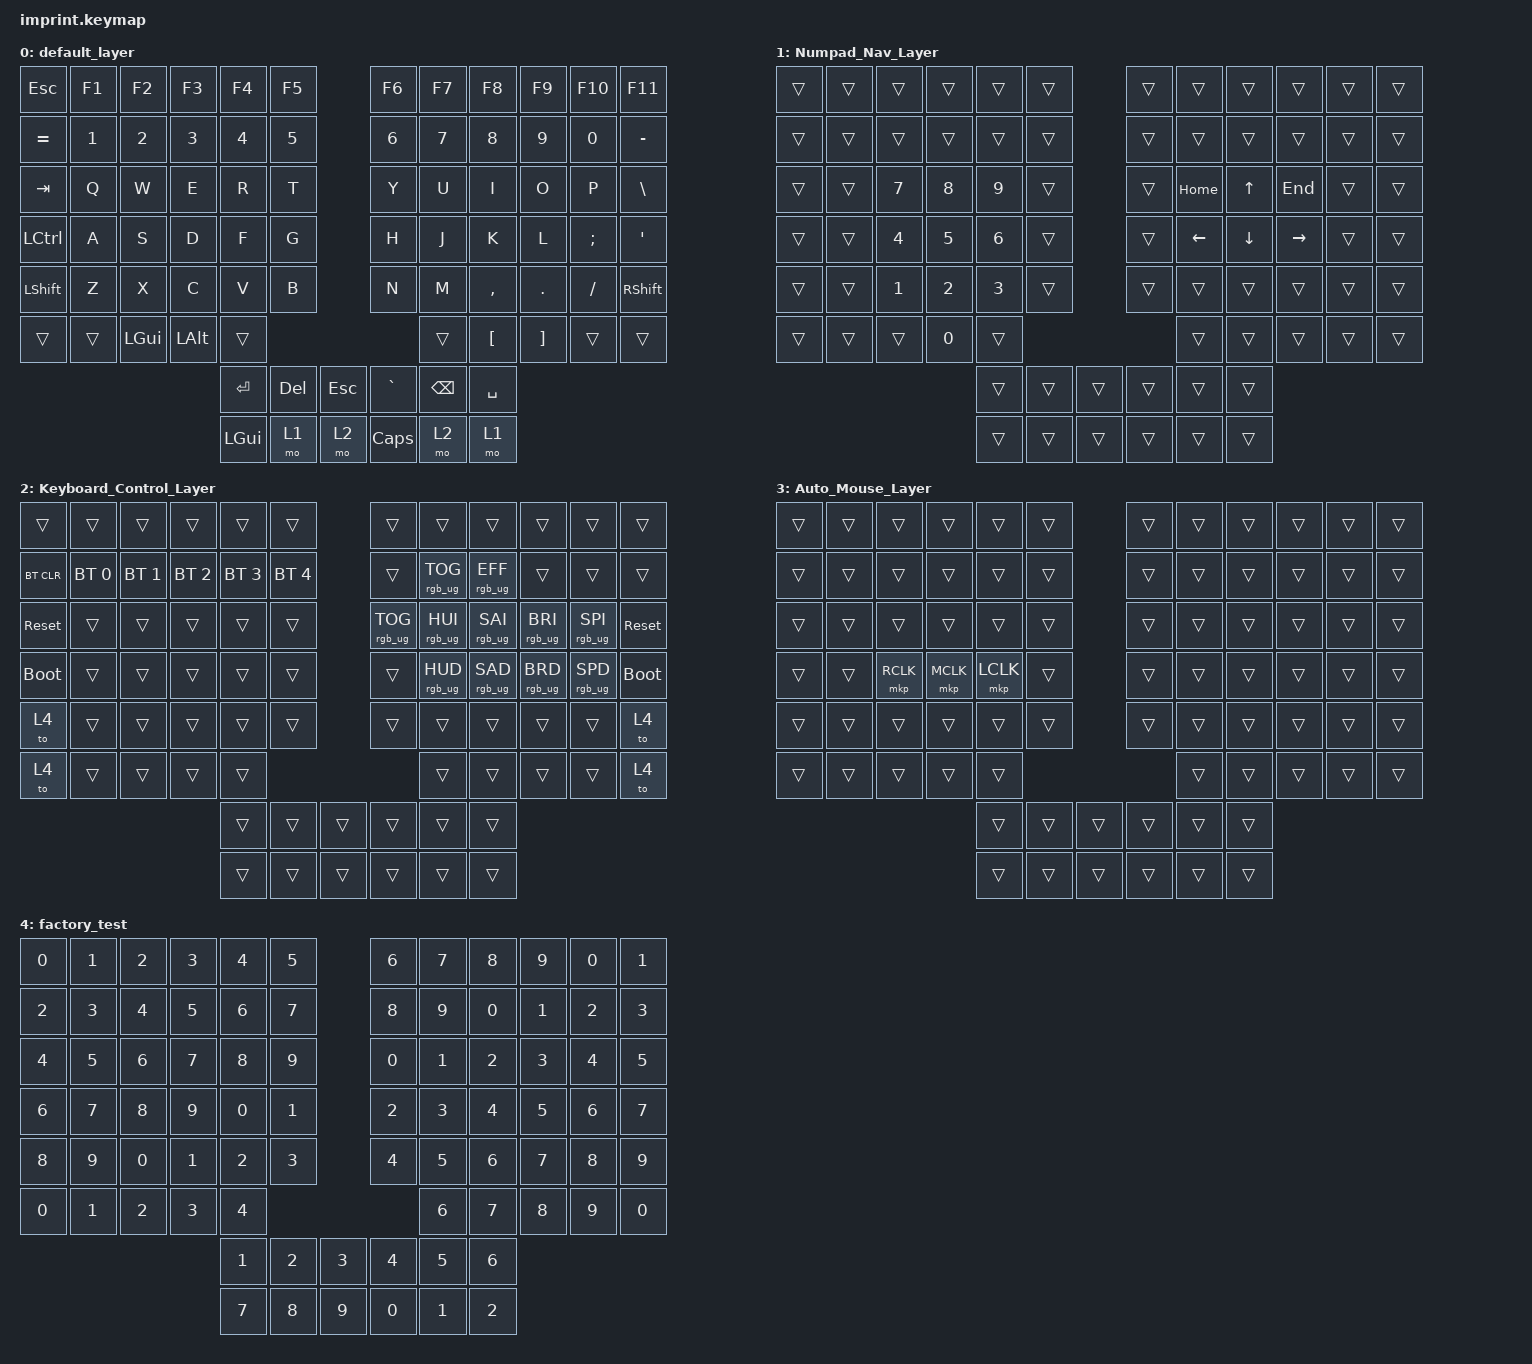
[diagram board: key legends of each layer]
#include <input/processors.dtsi>
#include <dt-bindings/zmk/input_transform.h>
#include <behaviors.dtsi>
#include <dt-bindings/zmk/bt.h>
#include <dt-bindings/zmk/keys.h>
#include <dt-bindings/zmk/pointing.h>
#include <dt-bindings/zmk/rgb.h>

/ {
    chosen { zmk,physical-layout = &physical_layout_imprint_function_row_full_bottom_row; };

    keymap {
        compatible = "zmk,keymap";

        default_layer {
            bindings = <
&kp ESC    &kp F1  &kp F2    &kp F3    &kp F4    &kp F5              &kp F6     &kp F7    &kp F8     &kp F9    &kp F10   &kp F11
&kp EQUAL  &kp N1  &kp N2    &kp N3    &kp N4    &kp N5              &kp N6     &kp N7    &kp N8     &kp N9    &kp N0    &kp MINUS
&kp TAB    &kp Q   &kp W     &kp E     &kp R     &kp T               &kp Y      &kp U     &kp I      &kp O     &kp P     &kp BSLH
&kp LCTRL  &kp A   &kp S     &kp D     &kp F     &kp G               &kp H      &kp J     &kp K      &kp L     &kp SEMI  &kp SQT
&kp LSHFT  &kp Z   &kp X     &kp C     &kp V     &kp B               &kp N      &kp M     &kp COMMA  &kp DOT   &kp FSLH  &kp RSHFT
&trans     &trans  &kp LGUI  &kp LALT  &trans                                   &trans    &kp LBKT   &kp RBKT  &trans    &trans
                                       &kp RET   &kp DEL  &kp ESC    &kp GRAVE  &kp BSPC  &kp SPACE
                                       &kp LGUI  &mo 1    &mo 2      &kp CAPS   &mo 2     &mo 1
            >;
        };

        Numpad_Nav_Layer {
            bindings = <
&trans  &trans  &trans  &trans  &trans  &trans            &trans  &trans    &trans    &trans     &trans  &trans
&trans  &trans  &trans  &trans  &trans  &trans            &trans  &trans    &trans    &trans     &trans  &trans
&trans  &trans  &kp N7  &kp N8  &kp N9  &trans            &trans  &kp HOME  &kp UP    &kp END    &trans  &trans
&trans  &trans  &kp N4  &kp N5  &kp N6  &trans            &trans  &kp LEFT  &kp DOWN  &kp RIGHT  &trans  &trans
&trans  &trans  &kp N1  &kp N2  &kp N3  &trans            &trans  &trans    &trans    &trans     &trans  &trans
&trans  &trans  &trans  &kp N0  &trans                            &trans    &trans    &trans     &trans  &trans
                                &trans  &trans  &trans    &trans  &trans    &trans
                                &trans  &trans  &trans    &trans  &trans    &trans
            >;
        };

        Keyboard_Control_Layer {
            bindings = <
&trans       &trans        &trans        &trans        &trans        &trans                  &trans  &trans           &trans           &trans           &trans           &trans
&bt BT_CLR   &bt BT_SEL 0  &bt BT_SEL 1  &bt BT_SEL 2  &bt BT_SEL 3  &bt BT_SEL 4            &trans  &rgb_ug RGB_TOG  &rgb_ug RGB_EFF  &trans           &trans           &trans
&sys_reset   &trans        &trans        &trans        &trans        &trans                  &rgb_ug RGB_TOG  &rgb_ug RGB_HUI  &rgb_ug RGB_SAI  &rgb_ug RGB_BRI  &rgb_ug RGB_SPI  &sys_reset
&bootloader  &trans        &trans        &trans        &trans        &trans                  &trans  &rgb_ug RGB_HUD  &rgb_ug RGB_SAD  &rgb_ug RGB_BRD  &rgb_ug RGB_SPD  &bootloader
&to 4        &trans        &trans        &trans        &trans        &trans                  &trans  &trans           &trans           &trans           &trans           &to 4
&to 4        &trans        &trans        &trans        &trans                                        &trans           &trans           &trans           &trans           &to 4
                                                       &trans        &trans        &trans    &trans  &trans           &trans
                                                       &trans        &trans        &trans    &trans  &trans           &trans
            >;
        };

        Auto_Mouse_Layer {
            bindings = <
&trans  &trans  &trans     &trans     &trans     &trans            &trans  &trans  &trans  &trans  &trans  &trans
&trans  &trans  &trans     &trans     &trans     &trans            &trans  &trans  &trans  &trans  &trans  &trans
&trans  &trans  &trans     &trans     &trans     &trans            &trans  &trans  &trans  &trans  &trans  &trans
&trans  &trans  &mkp RCLK  &mkp MCLK  &mkp LCLK  &trans            &trans  &trans  &trans  &trans  &trans  &trans
&trans  &trans  &trans     &trans     &trans     &trans            &trans  &trans  &trans  &trans  &trans  &trans
&trans  &trans  &trans     &trans     &trans                               &trans  &trans  &trans  &trans  &trans
                                      &trans     &trans  &trans    &trans  &trans  &trans
                                      &trans     &trans  &trans    &trans  &trans  &trans
            >;
        };

        factory_test {
            bindings = <
&kp N0  &kp N1  &kp N2  &kp N3  &kp N4  &kp N5            &kp N6  &kp N7  &kp N8  &kp N9  &kp N0  &kp N1
&kp N2  &kp N3  &kp N4  &kp N5  &kp N6  &kp N7            &kp N8  &kp N9  &kp N0  &kp N1  &kp N2  &kp N3
&kp N4  &kp N5  &kp N6  &kp N7  &kp N8  &kp N9            &kp N0  &kp N1  &kp N2  &kp N3  &kp N4  &kp N5
&kp N6  &kp N7  &kp N8  &kp N9  &kp N0  &kp N1            &kp N2  &kp N3  &kp N4  &kp N5  &kp N6  &kp N7
&kp N8  &kp N9  &kp N0  &kp N1  &kp N2  &kp N3            &kp N4  &kp N5  &kp N6  &kp N7  &kp N8  &kp N9
&kp N0  &kp N1  &kp N2  &kp N3  &kp N4                            &kp N6  &kp N7  &kp N8  &kp N9  &kp N0
                                &kp N1  &kp N2  &kp N3    &kp N4  &kp N5  &kp N6
                                &kp N7  &kp N8  &kp N9    &kp N0  &kp N1  &kp N2
            >;
        };
    };
};

// Trackball processing is done by the imprint_tuner input processor (see
// src/trackball_tuner.c): its settings (scroll or cursor, speed, axes,
// acceleration) are changed live from the Imprint companion app and saved on
// the keyboard. Its defaults match the stock configuration: the left ball
// scrolls at 1/3 with the vertical axis inverted, the right ball moves the
// cursor 1:1.

/ {
    imprint_tuner: imprint_tuner {
        compatible = "imprint,input-processor-tuner";
        #input-processor-cells = <1>;
    };
};

// right hand trackball configuration

&trackball_peripheral_listener {
    input-processors = <&imprint_tuner 1>;
};

// left hand trackball configuration

&trackball_central_listener {
    input-processors = <&imprint_tuner 0>;
};
